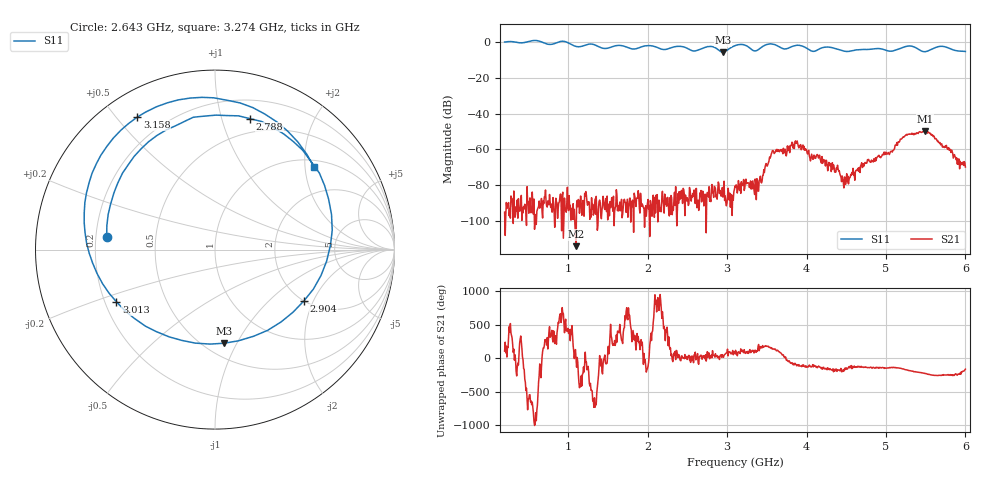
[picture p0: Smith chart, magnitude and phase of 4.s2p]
! NanoVNA-App by OneOfEleven et al v1.1.209 (+OD15)
! Date: 2024-07-30 15:17:44
! Start: 200MHz Stop: 6GHz Points: 801
! S-Parameter data: F S11 S21 S12 S22
# Hz S RI R 50
!  Frequency  S11_Real  S11_Imag  S21_Real  S21_Imag  S12_Real  S12_Imag  S22_Real  S22_Imag
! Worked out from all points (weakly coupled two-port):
!   801 points, 200 MHz to 6 GHz, reference 50 ohm
!   highest |S21| = -49.89 dB at 5.492 GHz (marker M1); lowest = -114.3 dB at 1.099 GHz (marker M2)
!   lowest |S11| = -5.6 dB at 2.948 GHz (marker M3), VSWR 3.20, Z = 31 - j44.5 ohm
!   |S11| at or under -10 dB: nowhere
!   S12 and S22 are empty: the file has one direction only
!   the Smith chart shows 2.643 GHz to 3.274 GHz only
!   S11 on the Smith chart (normalised r, x): 2.643 GHz: 0.24, +0.05; 2.788 GHz: 0.36, +1.23; 2.904 GHz: 2.01, -1.70; 3.013 GHz: 0.25, -0.23; 3.158 GHz: 0.10, +0.57; 3.274 GHz: 1.18, +2.23
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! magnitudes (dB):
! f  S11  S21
! 200 MHz  0.0  -95.2
! 1.099 GHz  -2.4  -114.3
! 1.171 GHz  -2.3  -96.9
! 2.136 GHz  -3.2  -93.1
! 2.643 GHz  -4.3  -94.2
! 2.788 GHz  -2.4  -87.5
! 2.904 GHz  -4.8  -84.8
! 2.948 GHz  -5.6  -86.8
! 3.013 GHz  -4.1  -81.8
! 3.1 GHz  -2.0  -80.6
! 3.158 GHz  -1.4  -83.1
! 3.274 GHz  -2.9  -78.9
! 3.419 GHz  -3.4  -75.1
! 3.593 GHz  -1.3  -62.4
! 3.883 GHz  -1.8  -55.3
! 4.072 GHz  -5.1  -64.3
! 4.369 GHz  -3.7  -72.8
! 4.47 GHz  -5.0  -81.6
! 5.036 GHz  -5.0  -62.4
! 5.246 GHz  -2.5  -52.3
! 5.492 GHz  -5.4  -49.9
! 6 GHz  -5.2  -70.0
